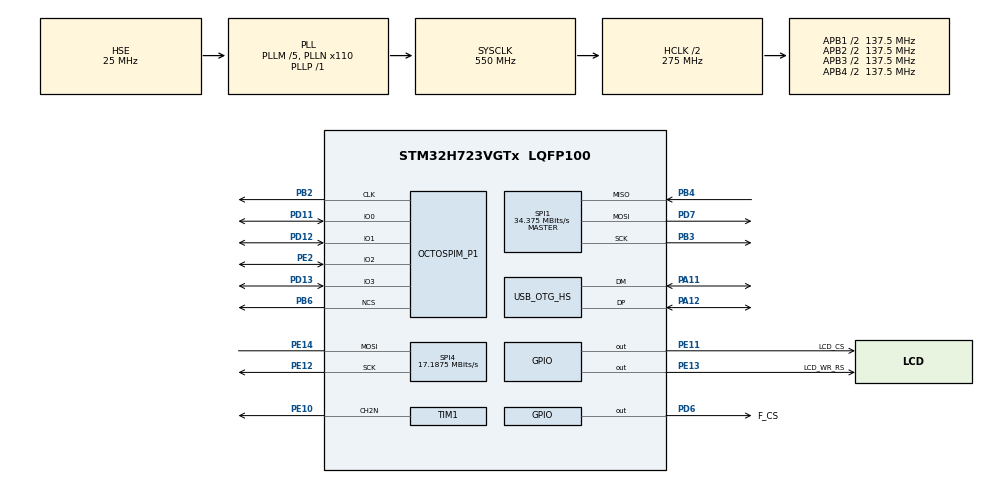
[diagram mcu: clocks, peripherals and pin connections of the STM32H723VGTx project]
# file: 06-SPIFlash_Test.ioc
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Mcu.Family=STM32H7
Mcu.Name=STM32H723VGTx
Mcu.Package=LQFP100
NVIC.OTG_HS_IRQn=true\:0\:0\:false\:false\:true\:false\:true\:true
NVIC.PriorityGroup=NVIC_PRIORITYGROUP_4
OCTOSPI1.ChipSelectHighTime=2
OCTOSPI1.ClockMode=HAL_OSPI_CLOCK_MODE_3
OCTOSPI1.ClockPrescaler=3-1
OCTOSPI1.DeviceSize=23
OCTOSPI1.SampleShifting=HAL_OSPI_SAMPLE_SHIFTING_HALFCYCLE
PA11.Mode=Device_Only_FS
PA11.Signal=USB_OTG_HS_DM
PA12.Mode=Device_Only_FS
PA12.Signal=USB_OTG_HS_DP
PA13(JTMS/SWDIO).Mode=Serial_Wire
PA13(JTMS/SWDIO).Signal=DEBUG_JTMS-SWDIO
PA14(JTCK/SWCLK).Mode=Serial_Wire
PA14(JTCK/SWCLK).Signal=DEBUG_JTCK-SWCLK
PB2.Mode=O1_P1_CLK
PB2.Signal=OCTOSPIM_P1_CLK
PB3(JTDO/TRACESWO).Mode=Full_Duplex_Master
PB3(JTDO/TRACESWO).Signal=SPI1_SCK
PB4(NJTRST).Mode=Full_Duplex_Master
PB4(NJTRST).Signal=SPI1_MISO
PB6.Mode=OCTOSPI1_Port1_NCS
PB6.Signal=OCTOSPIM_P1_NCS
PC14-OSC32_IN.Mode=LSE-External-Oscillator
PC14-OSC32_IN.Signal=RCC_OSC32_IN
PC15-OSC32_OUT.Mode=LSE-External-Oscillator
PC15-OSC32_OUT.Signal=RCC_OSC32_OUT
PD11.Mode=OCTOSPI1_IOL_Port1L
PD11.Signal=OCTOSPIM_P1_IO0
PD12.Mode=OCTOSPI1_IOL_Port1L
PD12.Signal=OCTOSPIM_P1_IO1
PD13.Mode=OCTOSPI1_IOL_Port1L
PD13.Signal=OCTOSPIM_P1_IO3
PD6.GPIO_Label=F_CS
PD6.Signal=GPIO_Output
PD7.Mode=Full_Duplex_Master
PD7.Signal=SPI1_MOSI
PE10.Mode=PWM Generation2 CH2N
PE10.Signal=TIM1_CH2N
PE11.GPIO_Label=LCD_CS
PE11.Signal=GPIO_Output
PE12.Mode=Simplex_Bidirectional_Master
PE12.Signal=SPI4_SCK
PE13.GPIO_Label=LCD_WR_RS
PE13.Signal=GPIO_Output
PE14.Mode=Simplex_Bidirectional_Master
PE14.Signal=SPI4_MOSI
PE2.Mode=OCTOSPI1_IOL_Port1L
PE2.Signal=OCTOSPIM_P1_IO2
PH0-OSC_IN.Mode=HSE-External-Oscillator
PH0-OSC_IN.Signal=RCC_OSC_IN
PH1-OSC_OUT.Mode=HSE-External-Oscillator
PH1-OSC_OUT.Signal=RCC_OSC_OUT
ProjectManager.HeapSize=0x2000
ProjectManager.StackSize=0x2000
ProjectManager.TargetToolchain=MDK-ARM V5.32
RCC.ADCFreq_Value=50390625
RCC.APB1Freq_Value=137500000
RCC.APB2Freq_Value=137500000
RCC.APB3Freq_Value=137500000
RCC.APB4Freq_Value=137500000
RCC.CortexFreq_Value=550000000
RCC.D1PPRE=RCC_APB3_DIV2
RCC.D2PPRE1=RCC_APB1_DIV2
RCC.D2PPRE2=RCC_APB2_DIV2
RCC.D3PPRE=RCC_APB4_DIV2
RCC.DIVM1=5
RCC.DIVN1=110
RCC.DIVP1=1
RCC.DIVQ1=4
RCC.HCLKFreq_Value=275000000
RCC.HPRE=RCC_HCLK_DIV2
RCC.PLL2FRACN=0
RCC.PLL3FRACN=0
RCC.PLLSourceVirtual=RCC_PLLSOURCE_HSE
RCC.QSPICLockSelection=RCC_OSPICLKSOURCE_PLL
RCC.SYSCLKFreq_VALUE=550000000
RCC.SYSCLKSource=RCC_SYSCLKSOURCE_PLLCLK
RCC.USBCLockSelection=RCC_USBCLKSOURCE_HSI48
RCC.USBFreq_Value=48000000
RTC.Year=23
SPI1.BaudRatePrescaler=SPI_BAUDRATEPRESCALER_4
SPI1.CalculateBaudRate=34.375 MBits/s
SPI1.DataSize=SPI_DATASIZE_8BIT
SPI1.Direction=SPI_DIRECTION_2LINES
SPI1.Mode=SPI_MODE_MASTER
SPI1.VirtualType=VM_MASTER
SPI4.BaudRatePrescaler=SPI_BAUDRATEPRESCALER_8
SPI4.CalculateBaudRate=17.1875 MBits/s
SPI4.DataSize=SPI_DATASIZE_8BIT
SPI4.Direction=SPI_DIRECTION_1LINE
SPI4.Mode=SPI_MODE_MASTER
SPI4.VirtualType=VM_MASTER
TIM1.Channel-PWM\ Generation2\ CH2N=TIM_CHANNEL_2
TIM1.OCNPolarity_2=TIM_OCNPOLARITY_LOW
TIM1.Period=1000-1
TIM1.Prescaler=14-1
USB_DEVICE.CLASS_NAME_HS=MSC
USB_DEVICE.MSC_MEDIA_PACKET=4096
USB_DEVICE.VirtualMode=Msc
USB_DEVICE.VirtualModeHS=Msc_HS
USB_OTG_HS.VirtualMode-Device_Only_FS=Device_Only_FS
VP_OCTOSPI1_VS_quad.Mode=quad_mode
VP_RTC_VS_RTC_Activate.Mode=RTC_Enabled
VP_RTC_VS_RTC_Calendar.Mode=RTC_Calendar
VP_USB_DEVICE_VS_USB_DEVICE_MSC_HS.Mode=MSC_HS
board=custom

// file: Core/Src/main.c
/* USER CODE BEGIN Header */

/*---------------------------------------
- WeAct Studio Official Link
- taobao: weactstudio.taobao.com
- aliexpress: weactstudio.aliexpress.com
- github: github.com/WeActStudio
- gitee: gitee.com/WeActStudio
- blog: blog.weactstudio.com
---------------------------------------*/

/**
  ******************************************************************************
  * @file           : main.c
  * @brief          : Main program body
  ******************************************************************************
  * @attention
  *
  * Copyright (c) 2023 STMicroelectronics.
  * All rights reserved.
  *
  * This software is licensed under terms that can be found in the LICENSE file
  * in the root directory of this software component.
  * If no LICENSE file comes with this software, it is provided AS-IS.
  *
  ******************************************************************************
  */
/* USER CODE END Header */
#include "main.h"
#include "octospi.h"
#include "rtc.h"
#include "spi.h"
#include "tim.h"
#include "usb_device.h"
#include "gpio.h"

/* USER CODE BEGIN Includes */
#include "board.h"
#include "usb_device.h"
#include "lcd.h"
/* USER CODE END Includes */

void SystemClock_Config(void);

/* USER CODE BEGIN 0 */
/**
 * @brief  Get the current time and date.
 * @param
 * @retval None
 */
static void RTC_CalendarShow(RTC_DateTypeDef *sdatestructureget, RTC_TimeTypeDef *stimestructureget)
{
  /* Both time and date must be obtained or RTC cannot be read next time */
  /* Get the RTC current Time */
  HAL_RTC_GetTime(&hrtc, stimestructureget, RTC_FORMAT_BIN);
  /* Get the RTC current Date */
  HAL_RTC_GetDate(&hrtc, sdatestructureget, RTC_FORMAT_BIN);
}

void MPU_Config(void)
{
  MPU_Region_InitTypeDef MPU_InitStruct = {0};

  /* Disables the MPU */
  HAL_MPU_Disable();

  /** Initializes and configures the Region and the memory to be protected
  */
  MPU_InitStruct.Enable = MPU_REGION_ENABLE;
  MPU_InitStruct.Number = MPU_REGION_NUMBER0;
  MPU_InitStruct.BaseAddress = 0x0;
  MPU_InitStruct.Size = MPU_REGION_SIZE_4GB;
  MPU_InitStruct.SubRegionDisable = 0x87;
  MPU_InitStruct.TypeExtField = MPU_TEX_LEVEL0;
  MPU_InitStruct.AccessPermission = MPU_REGION_NO_ACCESS;
  MPU_InitStruct.DisableExec = MPU_INSTRUCTION_ACCESS_DISABLE;
  MPU_InitStruct.IsShareable = MPU_ACCESS_SHAREABLE;
  MPU_InitStruct.IsCacheable = MPU_ACCESS_NOT_CACHEABLE;
  MPU_InitStruct.IsBufferable = MPU_ACCESS_NOT_BUFFERABLE;

  HAL_MPU_ConfigRegion(&MPU_InitStruct);
  /* Enables the MPU */
  HAL_MPU_Enable(MPU_PRIVILEGED_DEFAULT);

}

static void CPU_CACHE_Enable(void)
{
  /* Enable I-Cache */
  SCB_EnableICache();

  /* Enable D-Cache */
  SCB_EnableDCache();
}
/* USER CODE END 0 */

int main(void)
{
  /* USER CODE BEGIN 1 */
	CPU_CACHE_Enable();
	MPU_Config();
  /* USER CODE END 1 */

  /* MCU Configuration--------------------------------------------------------*/

  /* Reset of all peripherals, Initializes the Flash interface and the Systick. */
  HAL_Init();

  /* Configure the system clock */
  SystemClock_Config();

  /* Initialize all configured peripherals */
  MX_GPIO_Init();
  MX_RTC_Init();
  MX_SPI1_Init();
  MX_TIM1_Init();
  MX_OCTOSPI1_Init();
  MX_SPI4_Init();
  MX_USB_DEVICE_Init();
  /* USER CODE BEGIN 2 */
	board_button_init();
  board_led_init();

	LCD_Test();

	uint32_t tick,tick_now;
  tick = HAL_GetTick() + 200;
  tick_now = HAL_GetTick();

	uint8_t text[20];
  RTC_DateTypeDef sdatestructureget;
  RTC_TimeTypeDef stimestructureget;
  /* USER CODE END 2 */

  /* Infinite loop */
  while (1)
  {

    /* USER CODE BEGIN 3 */
	tick_now = HAL_GetTick();
    if(board_button_getstate())
    {
      if(tick_now >= tick)
      {
        tick = tick_now + 200;
        board_led_toggle();
      }
    }
    else
    {
      if(tick_now >= tick)
      {
        tick = tick_now + 500;
        board_led_toggle();

				RTC_CalendarShow(&sdatestructureget, &stimestructureget);

			if (stimestructureget.Seconds % 2 == 1)
				sprintf((char *)&text, "Time: %02d:%02d", stimestructureget.Hours, stimestructureget.Minutes);
			else
				sprintf((char *)&text, "Time: %02d %02d", stimestructureget.Hours, stimestructureget.Minutes);
			LCD_ShowString(4, 62, 160, 16, 12, text);

			sprintf((char *)&text, "SPIFlash Test");
			LCD_ShowString(80, 62, 160, 16, 12, text);
      }
    }
  }
  /* USER CODE END 3 */
}

void SystemClock_Config(void)
{
  RCC_OscInitTypeDef RCC_OscInitStruct = {0};
  RCC_ClkInitTypeDef RCC_ClkInitStruct = {0};

  /** Supply configuration update enable
  */
  HAL_PWREx_ConfigSupply(PWR_LDO_SUPPLY);

  /** Configure the main internal regulator output voltage
  */
  __HAL_PWR_VOLTAGESCALING_CONFIG(PWR_REGULATOR_VOLTAGE_SCALE0);

  while(!__HAL_PWR_GET_FLAG(PWR_FLAG_VOSRDY)) {}

  /** Initializes the RCC Oscillators according to the specified parameters
  * in the RCC_OscInitTypeDef structure.
  */
  RCC_OscInitStruct.OscillatorType = RCC_OSCILLATORTYPE_HSI48|RCC_OSCILLATORTYPE_LSI
                              |RCC_OSCILLATORTYPE_HSE;
  RCC_OscInitStruct.HSEState = RCC_HSE_ON;
  RCC_OscInitStruct.LSIState = RCC_LSI_ON;
  RCC_OscInitStruct.HSI48State = RCC_HSI48_ON;
  RCC_OscInitStruct.PLL.PLLState = RCC_PLL_ON;
  RCC_OscInitStruct.PLL.PLLSource = RCC_PLLSOURCE_HSE;
  RCC_OscInitStruct.PLL.PLLM = 5;
  RCC_OscInitStruct.PLL.PLLN = 110;
  RCC_OscInitStruct.PLL.PLLP = 1;
  RCC_OscInitStruct.PLL.PLLQ = 4;
  RCC_OscInitStruct.PLL.PLLR = 2;
  RCC_OscInitStruct.PLL.PLLRGE = RCC_PLL1VCIRANGE_2;
  RCC_OscInitStruct.PLL.PLLVCOSEL = RCC_PLL1VCOWIDE;
  RCC_OscInitStruct.PLL.PLLFRACN = 0;
  if (HAL_RCC_OscConfig(&RCC_OscInitStruct) != HAL_OK)
  {
    Error_Handler();
  }

  /** Initializes the CPU, AHB and APB buses clocks
  */
  RCC_ClkInitStruct.ClockType = RCC_CLOCKTYPE_HCLK|RCC_CLOCKTYPE_SYSCLK
                              |RCC_CLOCKTYPE_PCLK1|RCC_CLOCKTYPE_PCLK2
                              |RCC_CLOCKTYPE_D3PCLK1|RCC_CLOCKTYPE_D1PCLK1;
  RCC_ClkInitStruct.SYSCLKSource = RCC_SYSCLKSOURCE_PLLCLK;
  RCC_ClkInitStruct.SYSCLKDivider = RCC_SYSCLK_DIV1;
  RCC_ClkInitStruct.AHBCLKDivider = RCC_HCLK_DIV2;
  RCC_ClkInitStruct.APB3CLKDivider = RCC_APB3_DIV2;
  RCC_ClkInitStruct.APB1CLKDivider = RCC_APB1_DIV2;
  RCC_ClkInitStruct.APB2CLKDivider = RCC_APB2_DIV2;
  RCC_ClkInitStruct.APB4CLKDivider = RCC_APB4_DIV2;

  if (HAL_RCC_ClockConfig(&RCC_ClkInitStruct, FLASH_LATENCY_3) != HAL_OK)
  {
    Error_Handler();
  }
}

void Error_Handler(void)
{
  __disable_irq();
  while (1)
  {
  }
}
